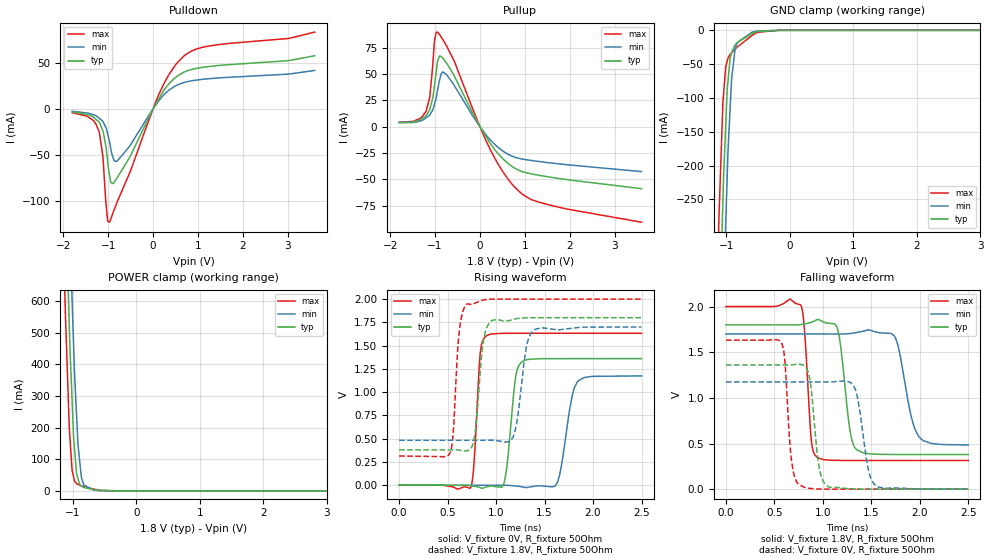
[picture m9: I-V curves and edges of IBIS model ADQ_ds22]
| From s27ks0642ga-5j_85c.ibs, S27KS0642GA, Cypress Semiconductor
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[Model]   ADQ_ds22
Model_type   I/O
Polarity   Non-Inverting
Enable   Active-High
Vinl = 0.54
Vinh = 1.26
Vmeas = 0.9
Vref = 0.9
Cref = 15pF
|   typ   min   max
C_comp   1.03pF   1.01pF   1.05pF
[Voltage Range]   1.8   1.7   2
[Temperature Range]   25   85   -40
[Pullup Reference]   1.8   1.7   2
[Pulldown Reference]   0   0   0
[Power Clamp Reference]   1.8   1.7   2
[GND Clamp Reference]   0   0   0
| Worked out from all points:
|   slope of the pulldown table from 0 to 0.27 V, typ, clamps not added: 12 ohm
|   slope of the pullup table from 0 to 0.27 V, typ, clamps not added: 14.6 ohm
|   falling waveform, V_fixture 1.8V, R_fixture 50Ohm: 20-80 % time 87.8ps typ, 130ps min, 56.2ps max; typ from 1.8 V to 0.38 V
|   rising waveform, V_fixture 0V, R_fixture 50Ohm: 20-80 % time 73.3ps typ, 103ps min, 50ps max; typ from 0 V to 1.36 V
|   rising waveform, V_fixture 1.8V, R_fixture 50Ohm: 20-80 % time 70.7ps typ, 86.9ps min, 57.8ps max; typ from 0.38 V to 1.8 V
|   falling waveform, V_fixture 0V, R_fixture 50Ohm: 20-80 % time 76.4ps typ, 97ps min, 60.2ps max; typ from 1.36 V to 0 V
[Pulldown]
|   Voltage   I(typ)   I(min)   I(max)
-1.8V     -3.538mA   -2.847mA   -4.399mA
-1.326V   -9.502mA   -6.713mA   -13mA
-1.2V     -14.76mA   -10.42mA   -24.99mA
-1.118V   -23.86mA   -13.86mA   -51.53mA
-1.056V   -39.7mA    -19.98mA   -99.16mA
-1.012V   -57.09mA   -27.33mA   -122.1mA
-972mV    -71.81mA   -35.43mA   -123.3mA
-866.7mV  -79.77mA   -56.71mA   -109.8mA
-788mV    -74.17mA   -56.2mA    -99.98mA
138mV     11.37mA    9.139mA    16.5mA
685.8mV   39.62mA    28.39mA    57.16mA
3.6V      57.46mA    41.51mA    83.15mA
[GND Clamp]
|   Voltage   I(typ)   I(min)   I(max)
-1.8V     -3.484A    -3.673A    -3.305A
-1.129V   -500.3mA   -693.4mA   -315.4mA
-1.118V   -459.3mA   -652.2mA   -275.6mA
-1.1V     -397.3mA   -583.2mA   -226mA
-1.056V   -250.6mA   -424.8mA   -106.3mA
-1.012V   -140mA     -285.2mA   -54.01mA
-988.2mV  -87.22mA   -214.8mA   -45.42mA
-975.5mV  -74.59mA   -177.6mA   -41.1mA
-919.4mV  -33.47mA   -72.01mA   -33.1mA
-866.7mV  -21.94mA   -29.31mA   -28.03mA
-598.1mV  -4.606mA   -2.834mA   -7.561mA
3.6V      0A         0A         0A
[Pullup]
|   Voltage   I(typ)   I(min)   I(max)
-1.8V     4.062mA    3.865mA    4.161mA
-1.2V     10.44mA    8.403mA    14.55mA
-1.118V   16.27mA    11.02mA    27.54mA
-1.046V   28.02mA    16.39mA    61.41mA
-1.012V   39.22mA    21.18mA    81.64mA
-941.4mV  62.67mA    34.92mA    89.61mA
-868.4mV  66.8mA     49.8mA     85.63mA
-801mV    63.9mA     51.56mA    81.07mA
244mV     -16.7mA    -13.04mA   -22.77mA
902mV     -42.02mA   -30.39mA   -62.55mA
1.55V     -47.82mA   -34.28mA   -74.34mA
3.6V      -58.85mA   -42.64mA   -90.69mA
[POWER Clamp]
|   Voltage   I(typ)   I(min)   I(max)
-1.8V     6.849A     7.225A     6.488A
-1.129V   1.031A     1.43A      643.5mA
-1.1V     823.6mA    1.211A     456.7mA
-1.056V   523.6mA    892.3mA    198mA
-1.012V   285.6mA    605.9mA    65.88mA
-988.2mV  169.4mA    459.6mA    44.21mA
-941.4mV  55.63mA    239mA      23.35mA
-919.4mV  39.09mA    146.5mA    20.44mA
-866.7mV  15.53mA    44.46mA    16.29mA
-829.3mV  10.93mA    19.4mA     14.03mA
-679.7mV  4.264mA    3.052mA    6.247mA
3.6V      0A         0A         0A
[Ramp]
R_load = 50
|   typ   min   max
dV/dt_r 8.1618E-01/7.2835E-11   7.0482E-01/1.0301E-10   9.7954E-01/4.9897E-11
dV/dt_f 8.5229E-01/8.7362E-11   7.2960E-01/1.3007E-10   1.0115E+00/5.6112E-11
[Falling Waveform]
V_fixture = 1.8V
V_fixture_min = 1.7V
V_fixture_max = 2V
R_fixture = 50Ohm
C_fixture = 0F
|   Time   V(typ)   V(min)   V(max)
0s        1.8V       1.7V       2V
775ps     1.803V     1.7V       2.011V
880ps     1.828V     1.7V       549.8mV
940ps     1.857V     1.7V       349.8mV
1.15ns    1.759V     1.699V     315.3mV
1.275ns   676.1mV    1.704V     314.5mV
1.345ns   436.4mV    1.715V     314.3mV
1.735ns   380mV      1.681V     314.2mV
1.995ns   379.6mV    569.1mV    314.2mV
2.5ns     379.5mV    484mV      314.2mV
[Rising Waveform]
V_fixture = 0V
V_fixture_min = 0V
V_fixture_max = 0V
R_fixture = 50Ohm
C_fixture = 0F
|   Time   V(typ)   V(min)   V(max)
0s        0V         0V         0V
740ps     -5.721mV   0V         -24.67mV
775ps     -10.87mV   813.6nV    273mV
835ps     -25.53mV   0V         1.4V
900ps     -17.74mV   -26.36uV   1.605V
1.08ns    14.96mV    456.5uV    1.632V
1.25ns    1.309V     -13.91mV   1.632V
1.63ns    1.36V      23.97mV    1.633V
1.845ns   1.36V      1.119V     1.633V
2.5ns     1.36V      1.175V     1.633V
[Rising Waveform]
V_fixture = 1.8V
V_fixture_min = 1.7V
V_fixture_max = 2V
R_fixture = 50Ohm
C_fixture = 0F
|   Time   V(typ)   V(min)   V(max)
0s        379.5mV    483.4mV    314.2mV
525ps     379.6mV    483.4mV    346.7mV
620ps     377.1mV    483.4mV    1.65V
700ps     368.1mV    483.4mV    1.946V
775ps     504.1mV    483.4mV    1.951V
870ps     1.552V     483.4mV    1.99V
950ps     1.765V     483.9mV    1.999V
1.175ns   1.781V     516.7mV    2V
1.385ns   1.8V       1.661V     2V
2.5ns     1.8V       1.7V       2V
[Falling Waveform]
|Gnd
V_fixture = 0V
V_fixture_min = 0V
V_fixture_max = 0V
R_fixture = 50Ohm
C_fixture = 0F
|   Time   V(typ)   V(min)   V(max)
0s        1.36V      1.175V     1.633V
575ps     1.36V      1.175V     1.599V
675ps     1.362V     1.175V     329.4mV
755ps     1.368V     1.175V     47.01mV
855ps     1.258V     1.175V     10mV
965ps     220.3mV    1.175V     1.449mV
1.055ns   26.82mV    1.174V     285.9uV
1.325ns   2.373mV    1.116V     7.376uV
1.535ns   122.1uV    50.11mV    769.2nV
2.5ns     0V         8.846uV    0V
